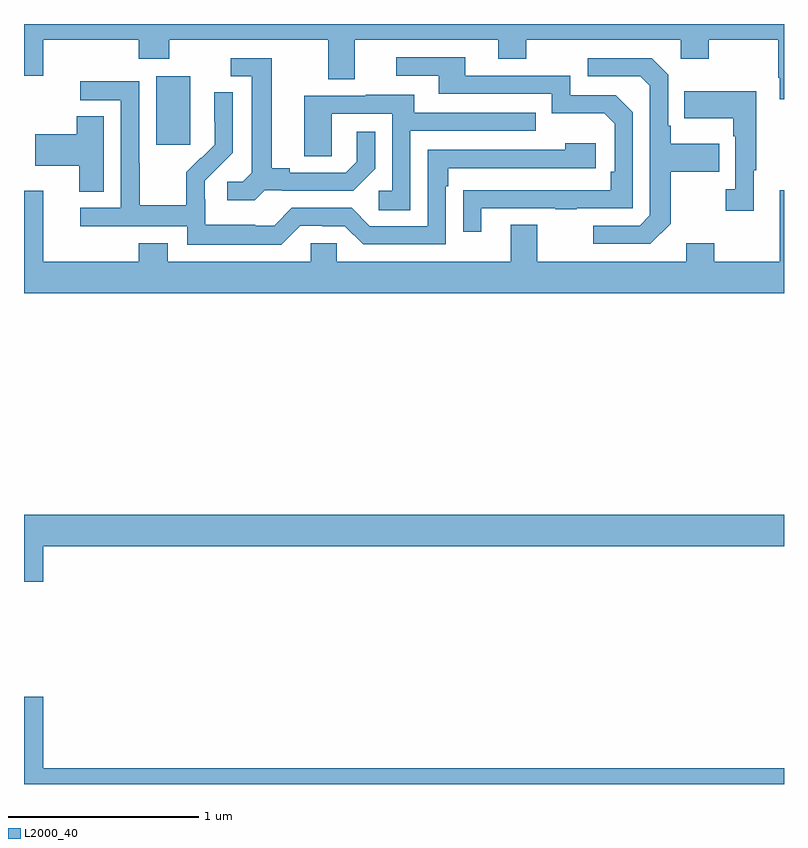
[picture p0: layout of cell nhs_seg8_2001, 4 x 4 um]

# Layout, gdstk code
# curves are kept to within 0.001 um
import gdstk
lib = gdstk.Library(unit=1e-6, precision=1e-09)
def R(c, l, rs):  # rectangles x0, y0, x1, y1
    for r in rs: c.add(gdstk.rectangle(r[:2], r[2:], *l))
def P(c, l, *ps):  # polygons
    for p in ps: c.add(gdstk.Polygon(p, *l))
L2000_40 = (2000, 40)

nhs_seg8_2001 = lib.new_cell('nhs_seg8_2001')
R(nhs_seg8_2001, L2000_40, [(237.695,1133.265,237.874,1133.626)])
P(nhs_seg8_2001, L2000_40, [(241,1133.9),(237,1133.9),(237,1133.628),(237.1,1133.628),(237.1,1133.816),(237.605,1133.816),(237.605,1133.717),(237.765,1133.717),(237.765,1133.816),(238.601,1133.816),(238.601,1133.608),(238.741,1133.608),(238.741,1133.816),(239.495,1133.816),(239.495,1133.717),(239.643,1133.717),(239.643,1133.816),(240.456,1133.816),(240.456,1133.717),(240.603,1133.717),(240.603,1133.816),(240.97,1133.816),(240.97,1133.617),(240.977,1133.617),(240.977,1133.505),(241,1133.505)],
  [(239.407,1132.929),(239.797,1132.929),(239.797,1132.924),(239.909,1132.924),(239.909,1132.929),(240.204,1132.929),(240.204,1133.436),(240.114,1133.526),(239.874,1133.526),(239.874,1133.628),(239.323,1133.628),(239.323,1133.724),(238.959,1133.724),(238.959,1133.628),(239.183,1133.628),(239.183,1133.532),(239.778,1133.532),(239.778,1133.429),(240.055,1133.429),(240.108,1133.376),(240.108,1133.122),(240.088,1133.122),(240.088,1133.025),(239.311,1133.024),(239.311,1132.806),(239.407,1132.806)],
  [(238.266,1133.025),(238.36,1133.025),(238.36,1133.022),(238.732,1133.022),(238.848,1133.138),(238.848,1133.332),(238.751,1133.332),(238.751,1133.175),(238.694,1133.118),(238.399,1133.118),(238.399,1133.141),(238.303,1133.141),(238.303,1133.721),(238.089,1133.721),(238.089,1133.625),(238.199,1133.625),(238.199,1133.117),(238.152,1133.07),(238.071,1133.07),(238.071,1132.973),(238.214,1132.973)],
  [(240.403,1132.849),(240.403,1133.122),(240.659,1133.122),(240.659,1133.269),(240.403,1133.269),(240.403,1133.365),(240.39,1133.365),(240.39,1133.634),(240.303,1133.721),(239.967,1133.721),(239.967,1133.625),(240.243,1133.625),(240.294,1133.574),(240.294,1132.893),(240.24,1132.839),(239.997,1132.839),(239.997,1132.743),(240.297,1132.743)],
  [(238.455,1132.839),(238.571,1132.839),(238.571,1132.836),(238.689,1132.836),(238.785,1132.74),(239.22,1132.74),(239.22,1133.045),(239.233,1133.045),(239.233,1133.142),(240.01,1133.142),(240.01,1133.272),(239.849,1133.272),(239.849,1133.238),(239.124,1133.238),(239.124,1132.836),(238.821,1132.836),(238.725,1132.932),(238.41,1132.932),(238.317,1132.839),(238.217,1132.839),(238.217,1132.843),(237.954,1132.843),(237.954,1132.977),(237.952,1132.977),(237.952,1133.074),(238.098,1133.222),(238.098,1133.54),(238.002,1133.54),(238.002,1133.386),(238.004,1133.386),(238.004,1133.264),(237.933,1133.193),(237.93,1133.196),(237.853,1133.119),(237.853,1132.945),(237.609,1132.945),(237.609,1133.168),(237.606,1133.168),(237.606,1133.598),(237.297,1133.598),(237.297,1133.499),(237.51,1133.499),(237.51,1132.932),(237.297,1132.932),(237.297,1132.836),(237.858,1132.836),(237.858,1132.739),(238.355,1132.739)],
  [(240.841,1133.129),(240.853,1133.129),(240.853,1133.545),(240.475,1133.545),(240.475,1133.405),(240.732,1133.405),(240.732,1133.309),(240.744,1133.309),(240.744,1133.03),(240.693,1133.03),(240.693,1132.917),(240.841,1132.917)],
  [(239.034,1133.337),(239.693,1133.337),(239.693,1133.433),(239.053,1133.433),(239.053,1133.527),(238.799,1133.527),(238.799,1133.523),(238.475,1133.523),(238.475,1133.203),(238.62,1133.203),(238.62,1133.427),(238.938,1133.427),(238.938,1133.022),(238.866,1133.022),(238.866,1132.921),(239.034,1132.921)],
  [(237.421,1133.414),(237.278,1133.414),(237.278,1133.319),(237.06,1133.319),(237.06,1133.153),(237.29,1133.153),(237.29,1133.017),(237.421,1133.017)],
  [(239.561,1132.843),(239.561,1132.648),(238.647,1132.648),(238.647,1132.746),(238.509,1132.746),(238.509,1132.648),(237.757,1132.648),(237.757,1132.747),(237.605,1132.747),(237.605,1132.648),(237.1,1132.648),(237.1,1133.023),(237,1133.023),(237,1132.484),(241,1132.484),(241,1133.026),(240.977,1133.026),(240.977,1132.648),(240.633,1132.648),(240.633,1132.747),(240.485,1132.747),(240.485,1132.648),(239.701,1132.648),(239.701,1132.843)],
  [(237.1,1131.152),(241,1131.152),(241,1131.316),(237,1131.316),(237,1130.964),(237.1,1130.964)],
  [(241,1129.984),(237.1,1129.984),(237.1,1130.359),(237,1130.359),(237,1129.9),(241,1129.9)])

lib.write_gds('nhs_seg8_2001.gds')
